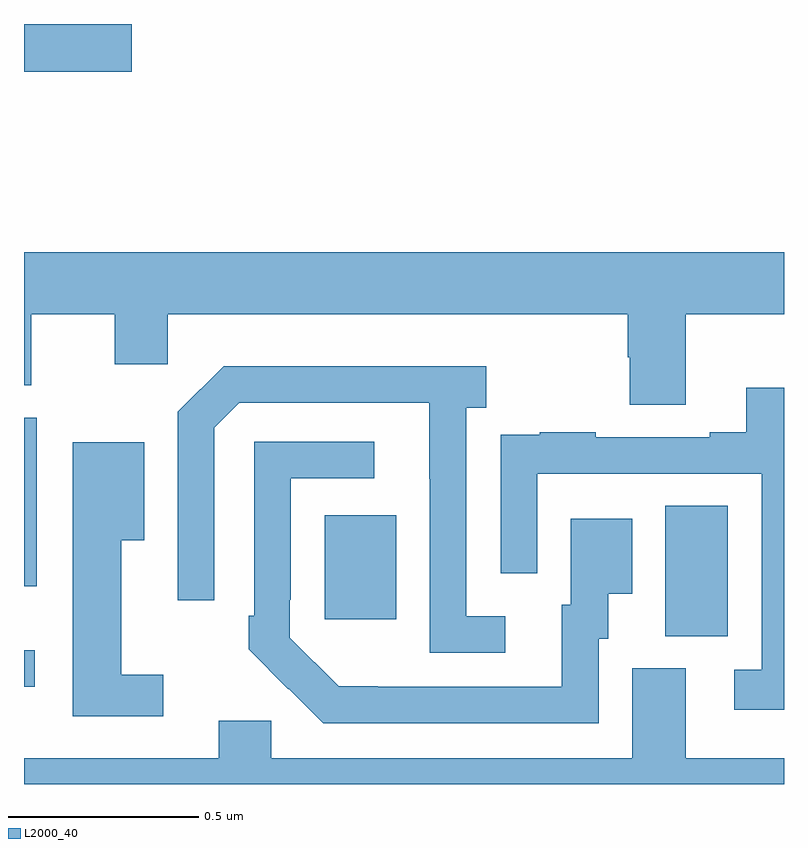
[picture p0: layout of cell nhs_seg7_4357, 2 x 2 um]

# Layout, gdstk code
import gdstk
lib = gdstk.Library(unit=1e-6, precision=1e-09)
def R(c, l, rs):  # rectangles x0, y0, x1, y1
    for r in rs: c.add(gdstk.rectangle(r[:2], r[2:], *l))
def P(c, l, *ps):  # polygons
    for p in ps: c.add(gdstk.Polygon(p, *l))
L2000_40 = (2000, 40)

nhs_seg7_4357 = lib.new_cell('nhs_seg7_4357')
R(nhs_seg7_4357, L2000_40, [(171,1046.256,171.028,1046.352), (172.688,1046.389,172.852,1046.732), (171.791,1046.433,171.979,1046.707), (171,1046.52,171.034,1046.964), (171,1047.874,171.283,1048)])
P(nhs_seg7_4357, L2000_40, [(172.741,1047.236),(173,1047.236),(173,1047.4),(171,1047.4),(171,1047.049),(171.019,1047.049),(171.019,1047.236),(171.239,1047.236),(171.239,1047.105),(171.378,1047.105),(171.378,1047.236),(172.589,1047.236),(172.589,1047.123),(172.594,1047.123),(172.594,1046.998),(172.741,1046.998)],
  [(172.267,1046.442),(172.164,1046.442),(172.164,1046.99),(172.216,1046.99),(172.216,1047.1),(171.526,1047.1),(171.405,1046.979),(171.405,1046.484),(171.501,1046.484),(171.501,1046.937),(171.567,1047.003),(172.067,1047.003),(172.067,1046.803),(172.068,1046.803),(172.068,1046.346),(172.267,1046.346)],
  [(173,1047.043),(172.901,1047.043),(172.901,1046.926),(172.805,1046.926),(172.805,1046.913),(172.505,1046.913),(172.505,1046.926),(172.357,1046.926),(172.357,1046.919),(172.255,1046.919),(172.255,1046.81),(172.254,1046.81),(172.254,1046.555),(172.35,1046.555),(172.35,1046.817),(172.941,1046.817),(172.941,1046.301),(172.869,1046.301),(172.869,1046.196),(173,1046.196)],
  [(172.512,1046.382),(172.537,1046.382),(172.537,1046.501),(172.6,1046.501),(172.6,1046.698),(172.439,1046.698),(172.439,1046.472),(172.415,1046.472),(172.415,1046.256),(171.931,1046.256),(171.931,1046.257),(171.828,1046.257),(171.699,1046.385),(171.699,1046.485),(171.702,1046.485),(171.702,1046.805),(171.922,1046.805),(171.922,1046.901),(171.606,1046.901),(171.606,1046.443),(171.591,1046.443),(171.591,1046.355),(171.696,1046.25),(171.697,1046.251),(171.788,1046.16),(172.512,1046.16)],
  [(171.367,1046.287),(171.256,1046.287),(171.256,1046.642),(171.316,1046.642),(171.316,1046.899),(171.128,1046.899),(171.128,1046.178),(171.367,1046.178)],
  [(173,1046.068),(172.741,1046.068),(172.741,1046.304),(172.601,1046.304),(172.601,1046.068),(171.651,1046.068),(171.651,1046.166),(171.512,1046.166),(171.512,1046.068),(171,1046.068),(171,1046),(173,1046)])

lib.write_gds('nhs_seg7_4357.gds')
